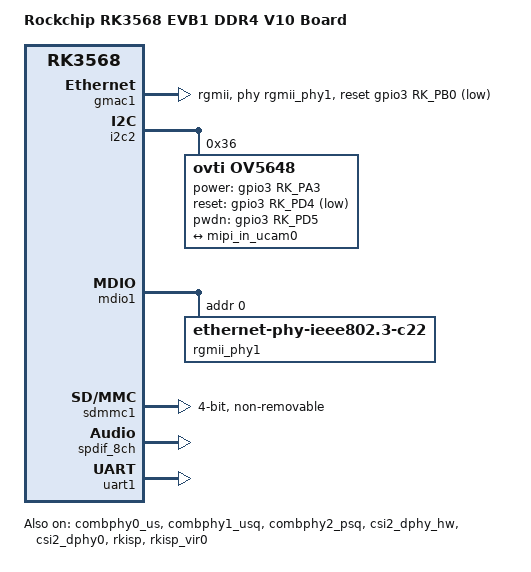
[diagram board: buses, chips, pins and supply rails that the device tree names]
// SPDX-License-Identifier: (GPL-2.0+ OR MIT)
/*
 * Copyright (c) 2020 Rockchip Electronics Co., Ltd.
 *
 */

/dts-v1/;

#include <dt-bindings/gpio/gpio.h>
#include <dt-bindings/pinctrl/rockchip.h>
#include "rk3568.dtsi"
#include "ycx-rk3568-pai.dtsi"

/ {
	model = "Rockchip RK3568 EVB1 DDR4 V10 Board";
	compatible = "rockchip,rk3568-evb1-ddr4-v10", "rockchip,rk3568";

};

&combphy0_us {
	status = "okay";
};

&combphy1_usq {
	status = "okay";
};

&combphy2_psq {
	status = "okay";
};

&csi2_dphy_hw {
	status = "okay";
};

&csi2_dphy0 {
	status = "okay";

	ports {
		#address-cells = <1>;
		#size-cells = <0>;
		port@0 {
			reg = <0>;
			#address-cells = <1>;
			#size-cells = <0>;

			mipi_in_ucam0: endpoint@0 {
				reg = <0>;
				remote-endpoint = <&ov5648_out>;
				data-lanes = <1 2>;
			};
		};
		port@1 {
			reg = <1>;
			#address-cells = <1>;
			#size-cells = <0>;

			csidphy0_out: endpoint@0 {
				reg = <0>;
				remote-endpoint = <&isp0_in>;
			};
		};
	};
};

&gmac1 {
	phy-mode = "rgmii";
	clock_in_out = "input";
	
	snps,reset-gpio = <&gpio3 RK_PB0 GPIO_ACTIVE_LOW>;
	snps,reset-active-low;
	/* Reset time is 20ms, 100ms for rtl8211f */
	snps,reset-delays-us = <0 20000 100000>;
	
	assigned-clocks = <&cru SCLK_GMAC1_RX_TX>, <&cru SCLK_GMAC1>;
	assigned-clock-parents = <&cru SCLK_GMAC1_RGMII_SPEED>, <&gmac1_clkin>;
	assigned-clock-rates = <0>, <125000000>;
	
	pinctrl-names = "default";
	pinctrl-0 = <&gmac1m1_miim
				&gmac1m1_tx_bus2
				&gmac1m1_rx_bus2
				&gmac1m1_rgmii_clk
				&gmac1m1_rgmii_bus
				&gmac1m1_clkinout>;
				
	tx_delay = <0x4f>;
	rx_delay = <0x26>;

	phy-handle = <&rgmii_phy1>;
	status = "okay";
};

&i2c2 {
	status = "okay";
	pinctrl-names = "default";
	pinctrl-0 = <&i2c2m1_xfer>;
	
	ov5648: ov5648@36 {
		status = "okay";
		compatible = "ovti,ov5648";
		reg = <0x36>;
		clocks = <&cru CLK_CIF_OUT>;
		clock-names = "xvclk";
		power-domains = <&power RK3568_PD_VI>;
		pinctrl-names = "rockchip,camera_default";
		pinctrl-0 = <&cif_clk>,<&ov5648_rst_gpio>, <&ov5648_pwdn_gpio>,<&ov5648_power_gpio>;
		
		power-gpios = <&gpio3 RK_PA3 GPIO_ACTIVE_HIGH>;
		reset-gpios = <&gpio3 RK_PD4 GPIO_ACTIVE_LOW>;
		pwdn-gpios  = <&gpio3 RK_PD5 GPIO_ACTIVE_HIGH>;
		
		rockchip,camera-module-index = <0>;
		rockchip,camera-module-facing = "back";
		rockchip,camera-module-name = "LMM248";
		rockchip,camera-module-lens-name = "YXC-M804A2";
		port {
			ov5648_out: endpoint {
				remote-endpoint = <&mipi_in_ucam0>;
				data-lanes = <1 2>;
			};
		};
	};
	
	gc2145: gc2145@3c {
		status = "disabled";
		compatible = "galaxycore,gc2145";
		reg = <0x3c>;
		clocks = <&cru CLK_CIF_OUT>;
		clock-names = "xvclk";
		power-domains = <&power RK3568_PD_VI>;
		pinctrl-names = "default";
		pinctrl-0 = <&cif_clk>,<&ov5648_rst_gpio>,<&ov5648_pwdn_gpio>,<&ov5648_power_gpio>;
		
		power-gpios = <&gpio3 RK_PA3 GPIO_ACTIVE_HIGH>;  
		reset-gpios = <&gpio3 RK_PD4 GPIO_ACTIVE_LOW>;
		pwdn-gpios = <&gpio3 RK_PD5 GPIO_ACTIVE_LOW>;
		
		rockchip,camera-module-index = <0>;
		rockchip,camera-module-facing = "front";
		rockchip,camera-module-name = "CameraKing";
		rockchip,camera-module-lens-name = "Largan";
		port {
			gc2145_out: endpoint {
				remote-endpoint = <&mipi_in_ucam0>;
				data-lanes = <1 2>;
			};
		};
	};	
};

&mdio1 {
	rgmii_phy1: phy@0 {
		compatible = "ethernet-phy-ieee802.3-c22";
		reg = <0x0>;
	};
};

&pinctrl {

	camera{
		ov5648_rst_gpio:ov5648-rst-gpio{
			rockchip,pins = <3 RK_PD4 RK_FUNC_GPIO &pcfg_pull_up>;
		};
	
		ov5648_pwdn_gpio:ov5648-pwdn-gpio{
			rockchip,pins = <3 RK_PD5 RK_FUNC_GPIO &pcfg_pull_none>;
		};
		
		ov5648_power_gpio:ov5648-power-gpio{
			rockchip,pins = <3 RK_PA3 RK_FUNC_GPIO &pcfg_pull_none>;
		};
	};
	
	headphone {
		hp_det: hp-det {
			rockchip,pins = <2 RK_PD2 RK_FUNC_GPIO &pcfg_pull_up>;
		};
	};

};

//&rk809_sound {
//	hp-det-gpio = <&gpio3 RK_PC2 GPIO_ACTIVE_LOW>;
//};

&rkisp {
	status = "okay";
};

&rkisp_mmu {
	status = "okay";
};

&rkisp_vir0 {
	status = "okay";

	port {
		#address-cells = <1>;
		#size-cells = <0>;

		isp0_in: endpoint@0 {
			reg = <0>;
			remote-endpoint = <&csidphy0_out>;
		};
	};
};



&sdmmc1 {
	max-frequency = <150000000>;
	supports-sdio;
	bus-width = <4>;
	disable-wp;
	cap-sd-highspeed;
	cap-sdio-irq;
	keep-power-in-suspend;
	mmc-pwrseq = <&sdio_pwrseq>;
	non-removable;
	pinctrl-names = "default";
	pinctrl-0 = <&sdmmc1_bus4 &sdmmc1_cmd &sdmmc1_clk>;
	sd-uhs-sdr104;
	status = "okay";
};

&spdif_8ch {
	status = "okay";
	pinctrl-names = "default";
	pinctrl-0 = <&spdifm1_tx>;
};

&uart1 {
	status = "okay";
	pinctrl-names = "default";
	pinctrl-0 = <&uart1m0_xfer &uart1m0_ctsn>;
};
